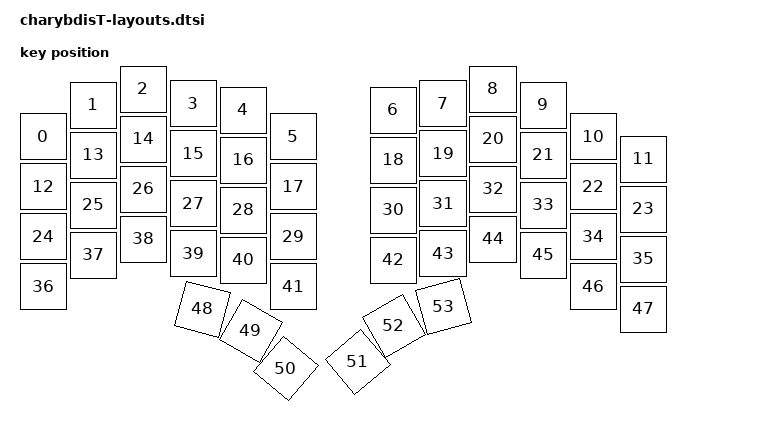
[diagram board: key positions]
#include <physical_layouts.dtsi>

/ {
    charybdis_physical_layout: charybdis_physical_layout {
        compatible = "zmk,physical-layout";
        display-name = "charybdis";
        transform = <&default_transform>;
        kscan = <&kscan0>;
        keys  //                     w   h    x    y     rot    rx    ry
            = <&key_physical_attrs 100 100    0   95       0     0     0>
            , <&key_physical_attrs 100 100  100   32       0     0     0>
            , <&key_physical_attrs 100 100  200    0       0     0     0>
            , <&key_physical_attrs 100 100  300   29       0     0     0>
            , <&key_physical_attrs 100 100  400   42       0     0     0>
            , <&key_physical_attrs 100 100  500   95       0     0     0> //Extra Column
            , <&key_physical_attrs 100 100  700   42       0     0     0>
            , <&key_physical_attrs 100 100  800   29       0     0     0>
            , <&key_physical_attrs 100 100  900    0       0     0     0>
            , <&key_physical_attrs 100 100 1000   32       0     0     0>
            , <&key_physical_attrs 100 100 1100   95       0     0     0>
            , <&key_physical_attrs 100 100 1200  140       0     0     0>  // Extra column

            , <&key_physical_attrs 100 100    0  195       0     0     0>
            , <&key_physical_attrs 100 100  100  132       0     0     0>
            , <&key_physical_attrs 100 100  200  100       0     0     0>
            , <&key_physical_attrs 100 100  300  129       0     0     0>
            , <&key_physical_attrs 100 100  400  142       0     0     0>
            , <&key_physical_attrs 100 100  500  195       0     0     0>  // Extra column
            , <&key_physical_attrs 100 100  700  142       0     0     0>
            , <&key_physical_attrs 100 100  800  129       0     0     0>
            , <&key_physical_attrs 100 100  900  100       0     0     0>
            , <&key_physical_attrs 100 100 1000  132       0     0     0>
            , <&key_physical_attrs 100 100 1100  195       0     0     0>
            , <&key_physical_attrs 100 100 1200  240       0     0     0>  // Extra column

            , <&key_physical_attrs 100 100    0  295       0     0     0>
            , <&key_physical_attrs 100 100  100  232       0     0     0>
            , <&key_physical_attrs 100 100  200  200       0     0     0>
            , <&key_physical_attrs 100 100  300  229       0     0     0>
            , <&key_physical_attrs 100 100  400  242       0     0     0>
            , <&key_physical_attrs 100 100  500  295       0     0     0>  // Extra column
            , <&key_physical_attrs 100 100  700  242       0     0     0>
            , <&key_physical_attrs 100 100  800  229       0     0     0>
            , <&key_physical_attrs 100 100  900  200       0     0     0>
            , <&key_physical_attrs 100 100 1000  232       0     0     0>
            , <&key_physical_attrs 100 100 1100  295       0     0     0>
            , <&key_physical_attrs 100 100 1200  340       0     0     0>  // Extra column

            , <&key_physical_attrs 100 100    0  395       0     0     0>  // New row
            , <&key_physical_attrs 100 100  100  332       0     0     0>  // New row
            , <&key_physical_attrs 100 100  200  300       0     0     0>  // New row
            , <&key_physical_attrs 100 100  300  329       0     0     0>  // New row
            , <&key_physical_attrs 100 100  400  342       0     0     0>  // New row
            , <&key_physical_attrs 100 100  500  395       0     0     0>  // New row
            , <&key_physical_attrs 100 100  700  342       0     0     0>  // New row
            , <&key_physical_attrs 100 100  800  329       0     0     0>  // New row
            , <&key_physical_attrs 100 100  900  300       0     0     0>  // New row
            , <&key_physical_attrs 100 100 1000  332       0     0     0>  // New row
            , <&key_physical_attrs 100 100 1100  395       0     0     0>  // New row
            , <&key_physical_attrs 100 100 1200  440       0     0     0>  // Extra column + New row

            , <&key_physical_attrs 100 100  330  455    1500   430   455>
            , <&key_physical_attrs 100 100  450  455    3000   430   455>
            , <&key_physical_attrs 100 100  560  455    4000   430   455>
            , <&key_physical_attrs 100 100  560  455 (-4000)   770   455>
            , <&key_physical_attrs 100 100  670  455 (-3000)   770   455>
            , <&key_physical_attrs 100 100  790  455 (-1500)   770   455>
            ;
    };
};
